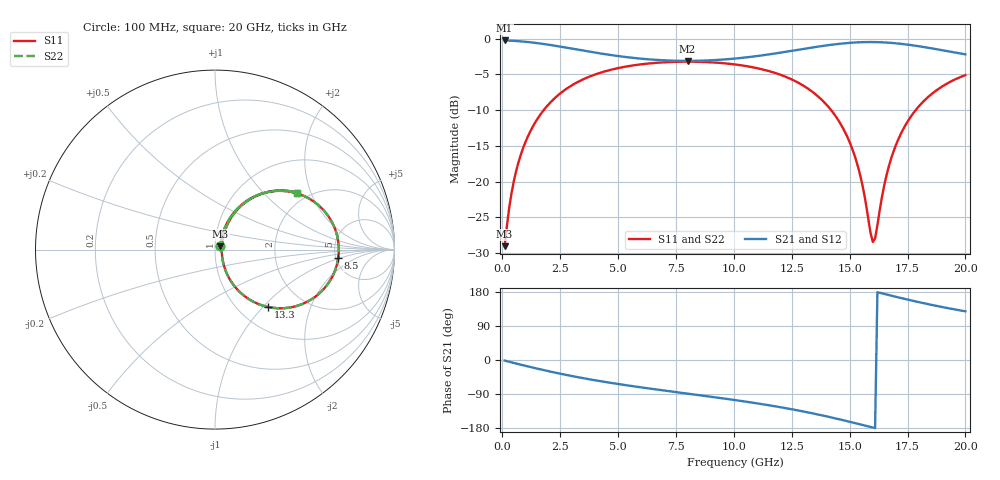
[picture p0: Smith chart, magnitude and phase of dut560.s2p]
! Touchstone file exported from HFSS 2026.1.0
!  File:  C:/ffzhzh/LocalFiles/Ansys_Project_Files/temp_train_TSV_RDL_560_1783116068_50312.aedt
!  Generated:  06:10:21 AM Jul  4, 2026
!  Design:  TSV_RDL
!  Project:  temp_train_TSV_RDL_560_1783116068_50312
! Variables:
!  h_bsmrdl = 3.6um
!  h_ox = 20um
!  h_rdl = 5um
!  h_sub = 57.83um
!  h_tmrdl = 3.56um
!  h_tsv = 57.83um
!  h_via = 3um
!  l_bsmrdl = 871.46um
!  l_sub = 3778.18um
!  l_tmrdl = 174.18um
!  m_sub = 200um
!  pitch = 57.85um
!  r_tsv = 14.61um
!  s_tmrdl = 10um
!  w_bsmrdl = 11.12um
!  w_sub = 500um
!  w_tmrdl = 11.24um
!  x_tsv_center1 = 179.8um
!  x_tsv_center2 = 1062.38um
!  x_tsv_center3 = 1247.8um
!  x_tsv_center4 = 2130.38um
!  x_tsv_center5 = 2315.8um
!  x_tsv_center6 = 3198.38um
# GHz S MA R 50.000000
! Terminal data exported
! Port[1] = TM_RDL1_1_T1
! Port[2] = TM_RDL5_1_T1
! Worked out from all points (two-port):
!   200 points, 100 MHz to 20 GHz, reference 50 ohm
!   highest |S21| = -0.26 dB at 100 MHz (marker M1); lowest = -3.1 dB at 8 GHz (marker M2)
!   |S21| within 3 dB of the highest: start of sweep to end of sweep
!   lowest |S11| = -29.0 dB at 100 MHz (marker M3), VSWR 1.07, Z = 53 + j2 ohm
!   |S11| at or under -10 dB: start of sweep to 1.789 GHz; 14.2 GHz to 17.85 GHz (3.653 GHz wide, 22.8 % of centre)
!   |S22| runs from -29.0 to -3.2 dB; largest |S21 - S12| = 1.7e-14
!   S11 on the Smith chart (normalised r, x): 100 MHz: 1.06, +0.04; 8.5 GHz: 5.24, -0.94; 13.3 GHz: 1.35, -1.07; 20 GHz: 1.74, +1.60
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0.1  0.03539 32.2  0.9704 -1.6  0.9704 -1.6  0.03539 32.2
! Gamma 0 0 0 0
! Port Impedance 50 0 50 0
0.3  0.06581 58.0  0.9682 -4.7  0.9682 -4.7  0.06581 58.0
0.5  0.1011 64.3  0.9643 -7.9  0.9643 -7.9  0.1011 64.3
1.1  0.2061 64.1  0.9465 -16.9  0.9465 -16.9  0.2061 64.1
2.1  0.361 54.0  0.9007 -30.9  0.9007 -30.9  0.361 54.0
3.5  0.5197 38.6  0.8242 -48.1  0.8242 -48.1  0.5197 38.6
6.8  0.6798 9.2  0.7073 -79.0  0.7073 -79.0  0.6798 9.2
8  0.6899 -0.1  0.6985 -88.7  0.6985 -88.7  0.6899 -0.1
8.5  0.6882 -3.9  0.7001 -92.8  0.7001 -92.8  0.6882 -4.0
10.1  0.658 -16.7  0.7263 -106.2  0.7263 -106.2  0.6579 -16.7
11.9  0.5669 -32.8  0.7922 -123.4  0.7922 -123.4  0.5669 -32.8
13.3  0.4357 -47.2  0.8618 -139.5  0.8618 -139.5  0.4357 -47.3
13.4  0.4238 -48.3  0.8669 -140.8  0.8669 -140.8  0.4238 -48.3
14.3  0.3014 -57.9  0.9093 -152.8  0.9093 -152.8  0.3014 -58.0
15  0.1889 -63.4  0.9337 -162.9  0.9337 -162.9  0.1888 -63.5
15.5  0.1035 -60.9  0.9436 -170.5  0.9436 -170.5  0.1034 -61.1
16  0.03786 -6.6  0.9458 -178.1  0.9458 -178.1  0.03755 -6.7
16.1  0.04008 19.2  0.9453 -179.6  0.9453 -179.6  0.03977 19.3
16.7  0.129 63.1  0.9357 171.2  0.9357 171.2  0.1289 63.2
17.2  0.2137 62.7  0.9199 163.8  0.9199 163.8  0.2136 62.8
17.9  0.3231 56.5  0.8887 153.9  0.8887 153.9  0.3231 56.6
20  0.5557 34.8  0.776 128.5  0.776 128.5  0.5557 34.8
